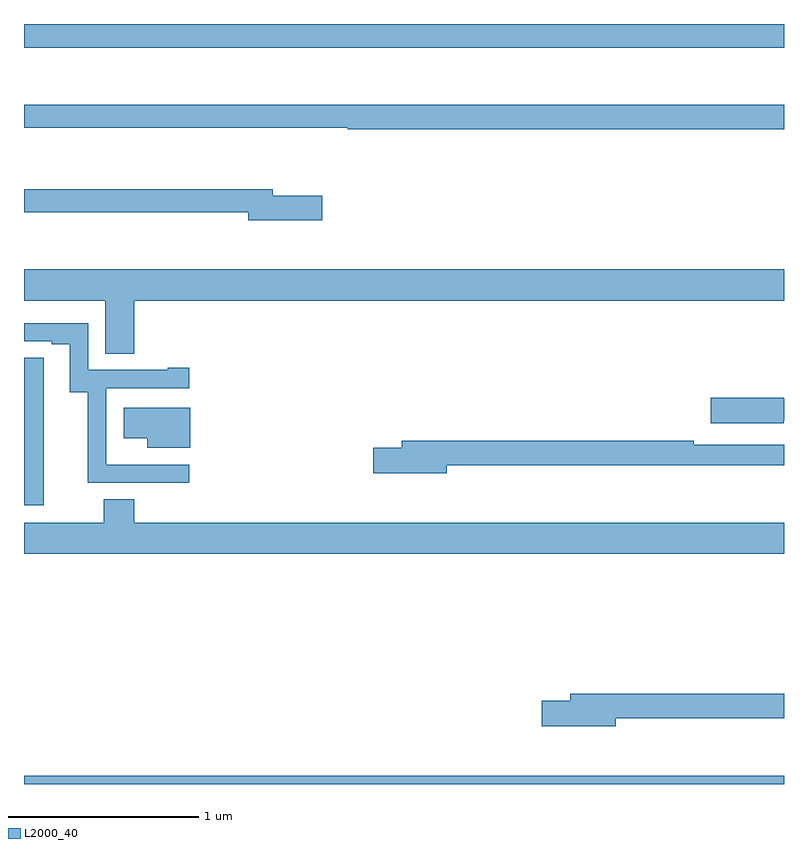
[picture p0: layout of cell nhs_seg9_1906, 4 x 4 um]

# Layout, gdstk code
import gdstk
lib = gdstk.Library(unit=1e-6, precision=1e-09)
def R(c, l, rs):  # rectangles x0, y0, x1, y1
    for r in rs: c.add(gdstk.rectangle(r[:2], r[2:], *l))
def P(c, l, *ps):  # polygons
    for p in ps: c.add(gdstk.Polygon(p, *l))
L2000_40 = (2000, 40)

nhs_seg9_1906 = lib.new_cell('nhs_seg9_1906')
R(nhs_seg9_1906, L2000_40, [(217,1236.5,221,1236.544), (217,1240.376,221,1240.5)])
P(nhs_seg9_1906, L2000_40, [(221,1240.075),(217,1240.075),(217,1239.954),(218.703,1239.954),(218.703,1239.946),(221,1239.946)],
  [(218.569,1239.597),(218.308,1239.597),(218.308,1239.631),(217,1239.631),(217,1239.51),(218.18,1239.51),(218.18,1239.467),(218.569,1239.467)],
  [(217.58,1239.044),(221,1239.044),(221,1239.208),(217,1239.208),(217,1239.044),(217.427,1239.044),(217.427,1238.764),(217.58,1238.764)],
  [(217.87,1238.181),(217.436,1238.181),(217.436,1238.182),(217.434,1238.182),(217.434,1238.583),(217.87,1238.583),(217.87,1238.692),(217.757,1238.692),(217.757,1238.679),(217.338,1238.679),(217.338,1238.925),(217,1238.925),(217,1238.829),(217.145,1238.829),(217.145,1238.814),(217.241,1238.814),(217.241,1238.563),(217.336,1238.563),(217.336,1238.085),(217.87,1238.085)],
  [(217.105,1238.636),(217.104,1238.636),(217.104,1238.744),(217,1238.744),(217,1237.968),(217.105,1237.968)],
  [(220.998,1238.412),(221,1238.412),(221,1238.528),(220.998,1238.528),(220.998,1238.534),(220.614,1238.534),(220.614,1238.399),(220.998,1238.399)],
  [(217.876,1238.479),(217.524,1238.479),(217.524,1238.321),(217.649,1238.321),(217.649,1238.27),(217.876,1238.27)],
  [(219.226,1238.178),(221,1238.178),(221,1238.286),(220.526,1238.286),(220.526,1238.306),(218.987,1238.306),(218.987,1238.27),(218.838,1238.27),(218.838,1238.135),(219.226,1238.135)],
  [(221,1237.876),(217.58,1237.876),(217.58,1238),(217.42,1238),(217.42,1237.876),(217,1237.876),(217,1237.712),(221,1237.712)],
  [(220.114,1236.846),(221,1236.846),(221,1236.974),(219.875,1236.974),(219.875,1236.938),(219.726,1236.938),(219.726,1236.803),(220.114,1236.803)])

lib.write_gds('nhs_seg9_1906.gds')
